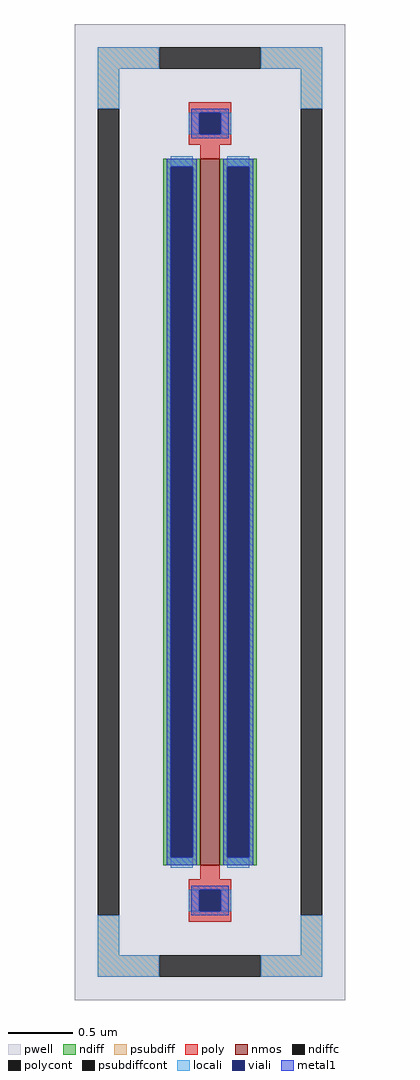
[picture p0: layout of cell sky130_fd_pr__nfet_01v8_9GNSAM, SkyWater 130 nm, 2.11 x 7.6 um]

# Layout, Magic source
magic
tech sky130A
magscale 1 2
<< pwell >>
rect -211 -760 211 760
<< nmos >>
rect -15 -550 15 550
<< ndiff >>
rect -73 538 -15 550
rect -73 -538 -61 538
rect -27 -538 -15 538
rect -73 -550 -15 -538
rect 15 538 73 550
rect 15 -538 27 538
rect 61 -538 73 538
rect 15 -550 73 -538
<< ndiffc >>
rect -61 -538 -27 538
rect 27 -538 61 538
<< psubdiff >>
rect -175 690 -79 724
rect 79 690 175 724
rect -175 628 -141 690
rect 141 628 175 690
rect -175 -690 -141 -628
rect 141 -690 175 -628
rect -175 -724 -79 -690
rect 79 -724 175 -690
<< psubdiffcont >>
rect -79 690 79 724
rect -175 -628 -141 628
rect 141 -628 175 628
rect -79 -724 79 -690
<< poly >>
rect -33 622 33 638
rect -33 588 -17 622
rect 17 588 33 622
rect -33 572 33 588
rect -15 550 15 572
rect -15 -572 15 -550
rect -33 -588 33 -572
rect -33 -622 -17 -588
rect 17 -622 33 -588
rect -33 -638 33 -622
<< polycont >>
rect -17 588 17 622
rect -17 -622 17 -588
<< locali >>
rect -175 690 -79 724
rect 79 690 175 724
rect -175 628 -141 690
rect 141 628 175 690
rect -33 588 -17 622
rect 17 588 33 622
rect -61 538 -27 554
rect -61 -554 -27 -538
rect 27 538 61 554
rect 27 -554 61 -538
rect -33 -622 -17 -588
rect 17 -622 33 -588
rect -175 -690 -141 -628
rect 141 -690 175 -628
rect -175 -724 -79 -690
rect 79 -724 175 -690
<< viali >>
rect -17 588 17 622
rect -61 -538 -27 538
rect 27 -538 61 538
rect -17 -622 17 -588
<< metal1 >>
rect -29 622 29 628
rect -29 588 -17 622
rect 17 588 29 622
rect -29 582 29 588
rect -67 538 -21 550
rect -67 -538 -61 538
rect -27 -538 -21 538
rect -67 -550 -21 -538
rect 21 538 67 550
rect 21 -538 27 538
rect 61 -538 67 538
rect 21 -550 67 -538
rect -29 -588 29 -582
rect -29 -622 -17 -588
rect 17 -622 29 -588
rect -29 -628 29 -622
<< properties >>
string FIXED_BBOX -158 -707 158 707
string gencell sky130_fd_pr__nfet_01v8
string library sky130
string parameters w 5.5 l 0.15 m 1 nf 1 diffcov 100 polycov 100 guard 1 glc 1 grc 1 gtc 1 gbc 1 tbcov 100 rlcov 100 topc 1 botc 1 poverlap 0 doverlap 1 lmin 0.15 wmin 0.42 compatible {sky130_fd_pr__nfet_01v8 sky130_fd_pr__nfet_01v8_lvt  sky130_fd_bs_flash__special_sonosfet_star  sky130_fd_pr__nfet_g5v0d10v5 sky130_fd_pr__nfet_05v0_nvt  sky130_fd_pr__nfet_03v3_nvt} full_metal 1 viasrc 100 viadrn 100 viagate 100 viagb 0 viagr 0 viagl 0 viagt 0
<< end >>
